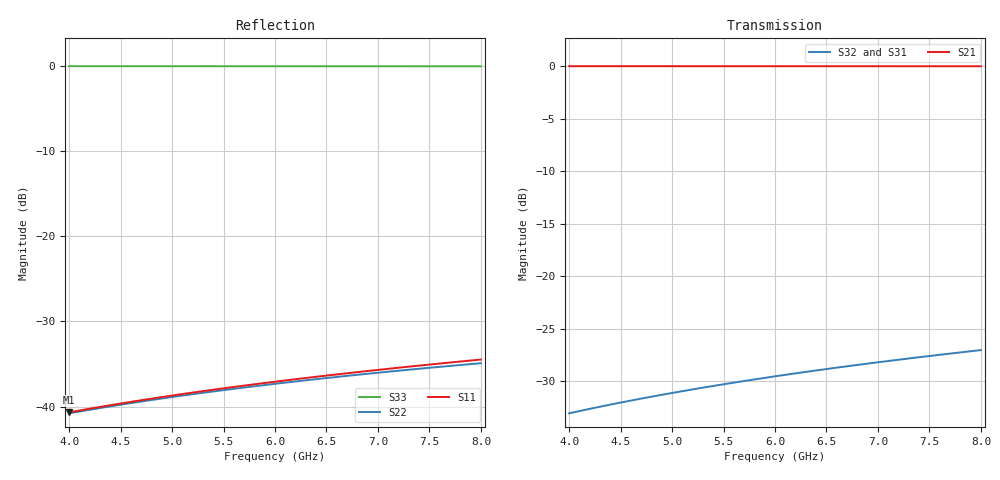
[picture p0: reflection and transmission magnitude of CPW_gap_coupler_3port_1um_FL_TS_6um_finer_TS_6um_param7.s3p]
! Sonnet Data File
! From: em Version : 15.52
! From Project: CPW_gap_coupler_3port_1um_FL_TS_6um_finer
! Data is De-embedded
! Data File Written: 08/14/2018 18:07:51
!< HDATE 08/14/2018 17:46:56
!< MDATE 08/14/2018 17:46:56
!< PARAMS
!< gap = 2.0
!< cpwS = 5.0
!< cpwS1 = 5.0
!< feedW = 12.0
!< feedS1 = 5.0
!< cond_length = 644.0
!< inner_length = 626.0
!< hangerW = 12.0000175
!< open_gap = 22.0
!< coupler_length = 650.0
!< END PARAMS
# GHZ S MA R 50.00000
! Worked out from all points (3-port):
!   201 points, 4 GHz to 8 GHz, reference 50 ohm
!   strongest paths, dB at 4 GHz, 5 GHz, 6 GHz, 7 GHz, 8 GHz:
!     S21: 0.0, 0.0, 0.0, 0.0, 0.0
!     S32: -33.0, -31.1, -29.5, -28.2, -27.0
!     S31: -33.1, -31.1, -29.6, -28.2, -27.1
!   lowest |S11| = -40.7 dB at 4 GHz (marker M1), VSWR 1.02, Z = 50.1 + j0.922 ohm
!   |S11| at or under -10 dB: start of sweep to end of sweep
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4  0.00925 84.1  0.9997 -9.3  0.02225 70.7
   0.9997 -9.3  0.009131 80.3  0.0223 82.7
   0.02225 70.7  0.0223 82.7  0.9995 -17.9
4.22  0.009767 83.8  0.9997 -9.8  0.02347 69.6
      0.9997 -9.8  0.009628 79.8  0.02352 82.2
      0.02347 69.6  0.02352 82.2  0.9994 -18.9
4.46  0.01033 83.4  0.9996 -10.3  0.02479 68.5
      0.9996 -10.3  0.01017 79.2  0.02486 81.8
      0.02479 68.5  0.02486 81.8  0.9994 -19.9
4.96  0.01152 82.6  0.9996 -11.5  0.02755 66.1
      0.9996 -11.5  0.01129 78.0  0.02765 80.9
      0.02755 66.1  0.02765 80.9  0.9992 -22.2
5.5  0.0128 81.8  0.9995 -12.8  0.03053 63.5
     0.9995 -12.8  0.0125 76.7  0.03066 79.9
     0.03053 63.5  0.03066 79.9  0.9991 -24.6
6  0.014 81.0  0.9993 -13.9  0.03328 61.1
   0.9993 -13.9  0.01361 75.5  0.03344 78.9
   0.03328 61.1  0.03344 78.9  0.9989 -26.8
6.46  0.01512 80.3  0.9992 -15.0  0.0358 58.8
      0.9992 -15.0  0.01463 74.4  0.036 78.1
      0.0358 58.8  0.036 78.1  0.9987 -28.9
6.96  0.01633 79.4  0.9991 -16.1  0.03853 56.4
      0.9991 -16.1  0.01573 73.2  0.03878 77.2
      0.03853 56.4  0.03878 77.2  0.9985 -31.1
7.48  0.01761 78.6  0.999 -17.3  0.04136 53.9
      0.999 -17.3  0.01686 71.9  0.04167 76.2
      0.04136 53.9  0.04167 76.2  0.9983 -33.5
8  0.01889 77.7  0.9988 -18.6  0.04419 51.4
   0.9988 -18.6  0.01799 70.7  0.04457 75.2
   0.04419 51.4  0.04457 75.2  0.998 -35.8
